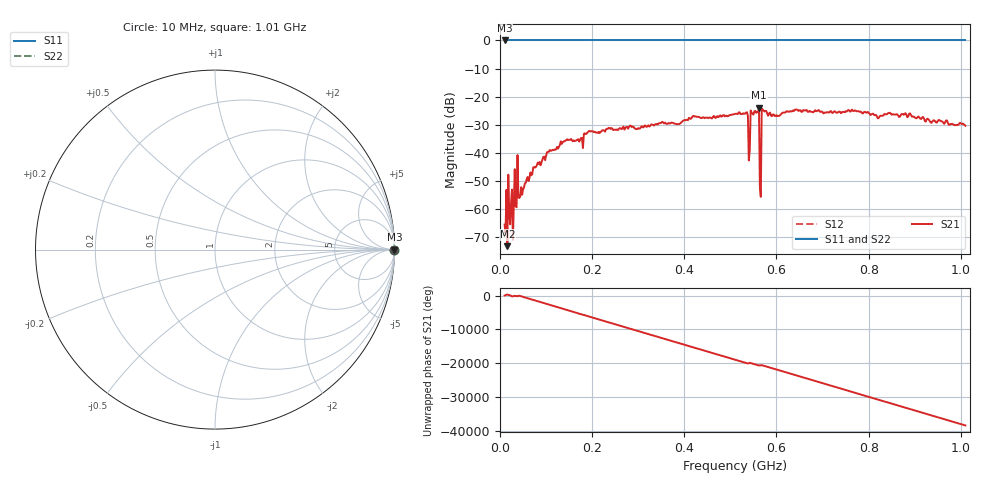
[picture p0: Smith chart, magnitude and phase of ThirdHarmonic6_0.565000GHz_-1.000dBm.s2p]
! 8/15/2025 6:05:12 PM
! C:\ANRITSUVNA\TEMP\TEMP.S2P
! CHANNEL.1
! TR.MEASUREMENT
! RAW.DATA
! RF.CORRECTION.OFF
! AVERAGING.OFF
! IF.BANDWIDTH: 5KHZ
! SWEEPTYPE:  FREQ.SWEEP(Linear)
! Reference Plane Port Info
! PORT:  PORT1  PORT2
! DISTANCE:  0  m  0  m
! TIME:  0  s  0  s
! PHASE.OFFSET:  0  deg.  0  deg.
! LOSS:  0  dB  0  dB
! REF.LOSS:  0  dB  0  dB
! REF.FREQ:  0  Hz  0  Hz
! Power Info
! POWER:  -20  dBm  -20  dBm
! EFF.POWER:  -20  dBm  -20  dBm
! SOURCE.ATTEN:  0  dB  0  dB
! TEST.ATTEN:  0  dB  0  dB
# GHZ S RI R 50.0
! FREQ.GHZ  S11RE  S11IM  S21RE  S21IM  S12RE  S12IM  S22RE  S22IM
!; PortSelection: Port_12
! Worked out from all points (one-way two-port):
!   501 points, 10 MHz to 1.01 GHz, reference 50 ohm
!   highest |S21| = -23.96 dB at 562 MHz (marker M1); lowest = -73.2 dB at 16 MHz (marker M2)
!   lowest |S11| = 0.0 dB at 10 MHz (marker M3)
!   |S11| at or under -10 dB: nowhere
!   |S22| runs from 0.0 to 0.0 dB; largest |S21 - S12| = 1.1
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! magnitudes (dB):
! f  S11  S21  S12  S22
! 10 MHz  0.0  -65.5  0.0  0.0
! 16 MHz  0.0  -73.2  0.0  0.0
! 22 MHz  0.0  -65.4  0.0  0.0
! 24 MHz  0.0  -57.8  0.0  0.0
! 28 MHz  0.0  -71.0  0.0  0.0
! 32 MHz  0.0  -45.8  0.0  0.0
! 34 MHz  0.0  -59.0  0.0  0.0
! 44 MHz  0.0  -55.5  0.0  0.0
! 106 MHz  0.0  -39.6  0.0  0.0
! 178 MHz  0.0  -34.7  0.0  0.0
! 344 MHz  0.0  -29.5  0.0  0.0
! 510 MHz  0.0  -26.1  0.0  0.0
! 534 MHz  0.0  -25.7  0.0  0.0
! 538 MHz  0.0  -26.9  0.0  0.0
! 548 MHz  0.0  -26.0  0.0  0.0
! 558 MHz  0.0  -25.4  0.0  0.0
! 562 MHz  0.0  -24.0  0.0  0.0
! 568 MHz  0.0  -24.3  0.0  0.0
! 572 MHz  0.0  -25.0  0.0  0.0
! 678 MHz  0.0  -25.5  0.0  0.0
! 844 MHz  0.0  -25.8  0.0  0.0
! 1.01 GHz  0.0  -30.3  0.0  0.0
